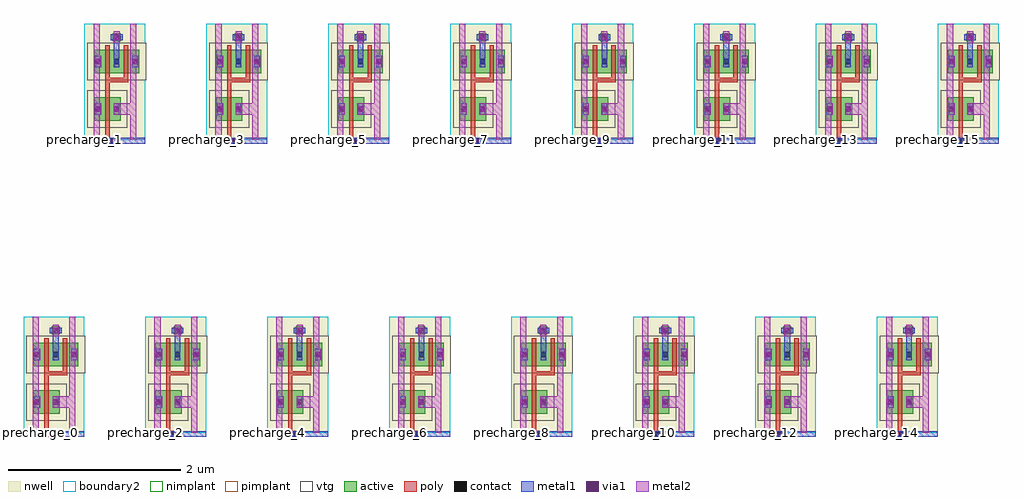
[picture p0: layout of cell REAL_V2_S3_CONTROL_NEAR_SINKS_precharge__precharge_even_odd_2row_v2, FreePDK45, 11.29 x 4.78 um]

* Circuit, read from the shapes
.subckt REAL_V2_S3_CONTROL_NEAR_SINKS_precharge__precharge_even_odd_2row_v2 precharge_0 precharge_1 precharge_10 precharge_11 precharge_12 precharge_13 precharge_14 precharge_15 precharge_2 precharge_3 precharge_4 precharge_5 precharge_6 precharge_7 precharge_8 precharge_9 vdd
M1 REAL_V2_S3_CONTROL_NEAR_SINKS_precharge__precharge_even_odd_2row_unit__0__gen_precharge_0/br precharge_0 REAL_V2_S3_CONTROL_NEAR_SINKS_precharge__precharge_even_odd_2row_unit__0__gen_precharge_0/bl vdd pfet w=0.27u l=0.05u
M2 vdd precharge_0 REAL_V2_S3_CONTROL_NEAR_SINKS_precharge__precharge_even_odd_2row_unit__0__gen_precharge_0/bl vdd pfet w=0.27u l=0.05u
M3 REAL_V2_S3_CONTROL_NEAR_SINKS_precharge__precharge_even_odd_2row_unit__0__gen_precharge_0/br precharge_0 vdd vdd pfet w=0.27u l=0.05u
M4 REAL_V2_S3_CONTROL_NEAR_SINKS_precharge__precharge_even_odd_2row_unit__0__gen_precharge_1/br precharge_1 REAL_V2_S3_CONTROL_NEAR_SINKS_precharge__precharge_even_odd_2row_unit__0__gen_precharge_1/bl vdd pfet w=0.27u l=0.05u
M5 vdd precharge_1 REAL_V2_S3_CONTROL_NEAR_SINKS_precharge__precharge_even_odd_2row_unit__0__gen_precharge_1/bl vdd pfet w=0.27u l=0.05u
M6 REAL_V2_S3_CONTROL_NEAR_SINKS_precharge__precharge_even_odd_2row_unit__0__gen_precharge_1/br precharge_1 vdd vdd pfet w=0.27u l=0.05u
M7 REAL_V2_S3_CONTROL_NEAR_SINKS_precharge__precharge_even_odd_2row_unit__0__gen_precharge_2/br precharge_2 REAL_V2_S3_CONTROL_NEAR_SINKS_precharge__precharge_even_odd_2row_unit__0__gen_precharge_2/bl vdd pfet w=0.27u l=0.05u
M8 vdd precharge_2 REAL_V2_S3_CONTROL_NEAR_SINKS_precharge__precharge_even_odd_2row_unit__0__gen_precharge_2/bl vdd pfet w=0.27u l=0.05u
M9 REAL_V2_S3_CONTROL_NEAR_SINKS_precharge__precharge_even_odd_2row_unit__0__gen_precharge_2/br precharge_2 vdd vdd pfet w=0.27u l=0.05u
M10 REAL_V2_S3_CONTROL_NEAR_SINKS_precharge__precharge_even_odd_2row_unit__0__gen_precharge_3/br precharge_3 REAL_V2_S3_CONTROL_NEAR_SINKS_precharge__precharge_even_odd_2row_unit__0__gen_precharge_3/bl vdd pfet w=0.27u l=0.05u
M11 vdd precharge_3 REAL_V2_S3_CONTROL_NEAR_SINKS_precharge__precharge_even_odd_2row_unit__0__gen_precharge_3/bl vdd pfet w=0.27u l=0.05u
M12 REAL_V2_S3_CONTROL_NEAR_SINKS_precharge__precharge_even_odd_2row_unit__0__gen_precharge_3/br precharge_3 vdd vdd pfet w=0.27u l=0.05u
M13 REAL_V2_S3_CONTROL_NEAR_SINKS_precharge__precharge_even_odd_2row_unit__0__gen_precharge_4/br precharge_4 REAL_V2_S3_CONTROL_NEAR_SINKS_precharge__precharge_even_odd_2row_unit__0__gen_precharge_4/bl vdd pfet w=0.27u l=0.05u
M14 vdd precharge_4 REAL_V2_S3_CONTROL_NEAR_SINKS_precharge__precharge_even_odd_2row_unit__0__gen_precharge_4/bl vdd pfet w=0.27u l=0.05u
M15 REAL_V2_S3_CONTROL_NEAR_SINKS_precharge__precharge_even_odd_2row_unit__0__gen_precharge_4/br precharge_4 vdd vdd pfet w=0.27u l=0.05u
M16 REAL_V2_S3_CONTROL_NEAR_SINKS_precharge__precharge_even_odd_2row_unit__0__gen_precharge_5/br precharge_5 REAL_V2_S3_CONTROL_NEAR_SINKS_precharge__precharge_even_odd_2row_unit__0__gen_precharge_5/bl vdd pfet w=0.27u l=0.05u
M17 vdd precharge_5 REAL_V2_S3_CONTROL_NEAR_SINKS_precharge__precharge_even_odd_2row_unit__0__gen_precharge_5/bl vdd pfet w=0.27u l=0.05u
M18 REAL_V2_S3_CONTROL_NEAR_SINKS_precharge__precharge_even_odd_2row_unit__0__gen_precharge_5/br precharge_5 vdd vdd pfet w=0.27u l=0.05u
M19 REAL_V2_S3_CONTROL_NEAR_SINKS_precharge__precharge_even_odd_2row_unit__0__gen_precharge_6/br precharge_6 REAL_V2_S3_CONTROL_NEAR_SINKS_precharge__precharge_even_odd_2row_unit__0__gen_precharge_6/bl vdd pfet w=0.27u l=0.05u
M20 vdd precharge_6 REAL_V2_S3_CONTROL_NEAR_SINKS_precharge__precharge_even_odd_2row_unit__0__gen_precharge_6/bl vdd pfet w=0.27u l=0.05u
M21 REAL_V2_S3_CONTROL_NEAR_SINKS_precharge__precharge_even_odd_2row_unit__0__gen_precharge_6/br precharge_6 vdd vdd pfet w=0.27u l=0.05u
M22 REAL_V2_S3_CONTROL_NEAR_SINKS_precharge__precharge_even_odd_2row_unit__0__gen_precharge_7/br precharge_7 REAL_V2_S3_CONTROL_NEAR_SINKS_precharge__precharge_even_odd_2row_unit__0__gen_precharge_7/bl vdd pfet w=0.27u l=0.05u
M23 vdd precharge_7 REAL_V2_S3_CONTROL_NEAR_SINKS_precharge__precharge_even_odd_2row_unit__0__gen_precharge_7/bl vdd pfet w=0.27u l=0.05u
M24 REAL_V2_S3_CONTROL_NEAR_SINKS_precharge__precharge_even_odd_2row_unit__0__gen_precharge_7/br precharge_7 vdd vdd pfet w=0.27u l=0.05u
M25 REAL_V2_S3_CONTROL_NEAR_SINKS_precharge__precharge_even_odd_2row_unit__0__gen_precharge_8/br precharge_8 REAL_V2_S3_CONTROL_NEAR_SINKS_precharge__precharge_even_odd_2row_unit__0__gen_precharge_8/bl vdd pfet w=0.27u l=0.05u
M26 vdd precharge_8 REAL_V2_S3_CONTROL_NEAR_SINKS_precharge__precharge_even_odd_2row_unit__0__gen_precharge_8/bl vdd pfet w=0.27u l=0.05u
M27 REAL_V2_S3_CONTROL_NEAR_SINKS_precharge__precharge_even_odd_2row_unit__0__gen_precharge_8/br precharge_8 vdd vdd pfet w=0.27u l=0.05u
M28 REAL_V2_S3_CONTROL_NEAR_SINKS_precharge__precharge_even_odd_2row_unit__0__gen_precharge_9/br precharge_9 REAL_V2_S3_CONTROL_NEAR_SINKS_precharge__precharge_even_odd_2row_unit__0__gen_precharge_9/bl vdd pfet w=0.27u l=0.05u
M29 vdd precharge_9 REAL_V2_S3_CONTROL_NEAR_SINKS_precharge__precharge_even_odd_2row_unit__0__gen_precharge_9/bl vdd pfet w=0.27u l=0.05u
M30 REAL_V2_S3_CONTROL_NEAR_SINKS_precharge__precharge_even_odd_2row_unit__0__gen_precharge_9/br precharge_9 vdd vdd pfet w=0.27u l=0.05u
M31 REAL_V2_S3_CONTROL_NEAR_SINKS_precharge__precharge_even_odd_2row_unit__0__gen_precharge_10/br precharge_10 REAL_V2_S3_CONTROL_NEAR_SINKS_precharge__precharge_even_odd_2row_unit__0__gen_precharge_10/bl vdd pfet w=0.27u l=0.05u
M32 vdd precharge_10 REAL_V2_S3_CONTROL_NEAR_SINKS_precharge__precharge_even_odd_2row_unit__0__gen_precharge_10/bl vdd pfet w=0.27u l=0.05u
M33 REAL_V2_S3_CONTROL_NEAR_SINKS_precharge__precharge_even_odd_2row_unit__0__gen_precharge_10/br precharge_10 vdd vdd pfet w=0.27u l=0.05u
M34 REAL_V2_S3_CONTROL_NEAR_SINKS_precharge__precharge_even_odd_2row_unit__0__gen_precharge_11/br precharge_11 REAL_V2_S3_CONTROL_NEAR_SINKS_precharge__precharge_even_odd_2row_unit__0__gen_precharge_11/bl vdd pfet w=0.27u l=0.05u
M35 vdd precharge_11 REAL_V2_S3_CONTROL_NEAR_SINKS_precharge__precharge_even_odd_2row_unit__0__gen_precharge_11/bl vdd pfet w=0.27u l=0.05u
M36 REAL_V2_S3_CONTROL_NEAR_SINKS_precharge__precharge_even_odd_2row_unit__0__gen_precharge_11/br precharge_11 vdd vdd pfet w=0.27u l=0.05u
M37 REAL_V2_S3_CONTROL_NEAR_SINKS_precharge__precharge_even_odd_2row_unit__0__gen_precharge_12/br precharge_12 REAL_V2_S3_CONTROL_NEAR_SINKS_precharge__precharge_even_odd_2row_unit__0__gen_precharge_12/bl vdd pfet w=0.27u l=0.05u
M38 vdd precharge_12 REAL_V2_S3_CONTROL_NEAR_SINKS_precharge__precharge_even_odd_2row_unit__0__gen_precharge_12/bl vdd pfet w=0.27u l=0.05u
M39 REAL_V2_S3_CONTROL_NEAR_SINKS_precharge__precharge_even_odd_2row_unit__0__gen_precharge_12/br precharge_12 vdd vdd pfet w=0.27u l=0.05u
M40 REAL_V2_S3_CONTROL_NEAR_SINKS_precharge__precharge_even_odd_2row_unit__0__gen_precharge_13/br precharge_13 REAL_V2_S3_CONTROL_NEAR_SINKS_precharge__precharge_even_odd_2row_unit__0__gen_precharge_13/bl vdd pfet w=0.27u l=0.05u
M41 vdd precharge_13 REAL_V2_S3_CONTROL_NEAR_SINKS_precharge__precharge_even_odd_2row_unit__0__gen_precharge_13/bl vdd pfet w=0.27u l=0.05u
M42 REAL_V2_S3_CONTROL_NEAR_SINKS_precharge__precharge_even_odd_2row_unit__0__gen_precharge_13/br precharge_13 vdd vdd pfet w=0.27u l=0.05u
M43 REAL_V2_S3_CONTROL_NEAR_SINKS_precharge__precharge_even_odd_2row_unit__0__gen_precharge_14/br precharge_14 REAL_V2_S3_CONTROL_NEAR_SINKS_precharge__precharge_even_odd_2row_unit__0__gen_precharge_14/bl vdd pfet w=0.27u l=0.05u
M44 vdd precharge_14 REAL_V2_S3_CONTROL_NEAR_SINKS_precharge__precharge_even_odd_2row_unit__0__gen_precharge_14/bl vdd pfet w=0.27u l=0.05u
M45 REAL_V2_S3_CONTROL_NEAR_SINKS_precharge__precharge_even_odd_2row_unit__0__gen_precharge_14/br precharge_14 vdd vdd pfet w=0.27u l=0.05u
M46 REAL_V2_S3_CONTROL_NEAR_SINKS_precharge__precharge_even_odd_2row_unit__0__gen_precharge_15/br precharge_15 REAL_V2_S3_CONTROL_NEAR_SINKS_precharge__precharge_even_odd_2row_unit__0__gen_precharge_15/bl vdd pfet w=0.27u l=0.05u
M47 vdd precharge_15 REAL_V2_S3_CONTROL_NEAR_SINKS_precharge__precharge_even_odd_2row_unit__0__gen_precharge_15/bl vdd pfet w=0.27u l=0.05u
M48 REAL_V2_S3_CONTROL_NEAR_SINKS_precharge__precharge_even_odd_2row_unit__0__gen_precharge_15/br precharge_15 vdd vdd pfet w=0.27u l=0.05u
.ends

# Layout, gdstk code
import gdstk
lib = gdstk.Library(unit=1e-6, precision=5e-10)
def R(c, l, rs):  # rectangles x0, y0, x1, y1
    for r in rs: c.add(gdstk.rectangle(r[:2], r[2:], *l))
active = (1, 0)
nwell = (3, 0)
nimplant = (4, 0)
pimplant = (5, 0)
vtg = (6, 0)
poly = (9, 0)
contact = (10, 0)
metal1 = (11, 0)
via1 = (12, 0)
metal2 = (13, 0)
boundary2 = (239, 0)

real_v2_s3_control_near_ = lib.new_cell('REAL_V2_S3_CONTROL_NEAR_SINKS_precharge__precharge_even_odd_2row_unit__1__sram_1rw_32x16_freepdk45_contact_11')
R(real_v2_s3_control_near_, active, [(0,0.0225,0.09,0.1125)])
R(real_v2_s3_control_near_, nwell, [(-0.055,-0.0325,0.145,0.1675)])
R(real_v2_s3_control_near_, pimplant, [(0,0.0225,0.09,0.1125)])
R(real_v2_s3_control_near_, contact, [(0.0125,0.035,0.0775,0.1)])
R(real_v2_s3_control_near_, metal1, [(0.0125,0,0.0775,0.135)])
R(real_v2_s3_control_near_, boundary2, [(-0.055,-0.0325,0.145,0.1675)])

c_real_v2_s3_control_near_ = lib.new_cell('REAL_V2_S3_CONTROL_NEAR_SINKS_precharge__precharge_even_odd_2row_unit__6__sram_1rw_32x16_freepdk45_pmos_m1_w0_270_sm1_dm1')
R(c_real_v2_s3_control_near_, active, [(0,0,0.305,0.27)])
R(c_real_v2_s3_control_near_, nwell, [(-0.08,-0.08,0.385,0.35)])
R(c_real_v2_s3_control_near_, pimplant, [(0,0,0.305,0.27)])
R(c_real_v2_s3_control_near_, vtg, [(-0.08,-0.08,0.385,0.35)])
R(c_real_v2_s3_control_near_, poly, [(0.1275,-0.055,0.1775,0.325), (0.1275,-0.055,0.1775,0.325)])
R(c_real_v2_s3_control_near_, metal1, [(0.0125,0.0675,0.0775,0.2025), (0.2275,0.0675,0.2925,0.2025)])
R(c_real_v2_s3_control_near_, boundary2, [(-0.08,-0.08,0.385,0.35)])
c_real_v2_s3_control_near_.add(gdstk.Reference(real_v2_s3_control_near_, (0,0.0675)))
c_real_v2_s3_control_near_.add(gdstk.Reference(real_v2_s3_control_near_, (0.215,0.0675)))
c_real_v2_s3_control_near_.add(gdstk.Label('G', (0.1525,0.135), layer=9, texttype=0))
c_real_v2_s3_control_near_.add(gdstk.Label('S', (0.045,0.135), layer=11, texttype=0))
c_real_v2_s3_control_near_.add(gdstk.Label('D', (0.26,0.135), layer=11, texttype=0))

c_real_v2_s3_control_near__ = lib.new_cell('REAL_V2_S3_CONTROL_NEAR_SINKS_precharge__precharge_even_odd_2row_unit__2__sram_1rw_32x16_freepdk45_contact_14')
R(c_real_v2_s3_control_near__, poly, [(0.03,0,0.105,0.075)])
R(c_real_v2_s3_control_near__, contact, [(0.035,0.005,0.1,0.07)])
R(c_real_v2_s3_control_near__, metal1, [(0,0.005,0.135,0.07)])
R(c_real_v2_s3_control_near__, boundary2, [(0,0,0.135,0.075)])

c_real_v2_s3_control_near___ = lib.new_cell('REAL_V2_S3_CONTROL_NEAR_SINKS_precharge__precharge_even_odd_2row_unit__4__sram_1rw_32x16_freepdk45_contact_22')
R(c_real_v2_s3_control_near___, active, [(0.0225,0,0.1125,0.09)])
R(c_real_v2_s3_control_near___, nwell, [(-0.0325,-0.055,0.1675,0.145)])
R(c_real_v2_s3_control_near___, nimplant, [(0.0225,0,0.1125,0.09)])
R(c_real_v2_s3_control_near___, contact, [(0.035,0.0125,0.1,0.0775)])
R(c_real_v2_s3_control_near___, metal1, [(0,0.0125,0.135,0.0775)])
R(c_real_v2_s3_control_near___, boundary2, [(-0.0325,-0.055,0.1675,0.145)])

c_real_v2_s3_control_near____ = lib.new_cell('REAL_V2_S3_CONTROL_NEAR_SINKS_precharge__precharge_even_odd_2row_unit__3__sram_1rw_32x16_freepdk45_contact_17')
R(c_real_v2_s3_control_near____, metal1, [(0,0.035,0.135,0.1)])
R(c_real_v2_s3_control_near____, via1, [(0.035,0.035,0.1,0.1)])
R(c_real_v2_s3_control_near____, metal2, [(0.0325,0,0.1025,0.135)])
R(c_real_v2_s3_control_near____, boundary2, [(0,0,0.135,0.135)])

c_real_v2_s3_control_near_____ = lib.new_cell('REAL_V2_S3_CONTROL_NEAR_SINKS_precharge__precharge_even_odd_2row_unit__5__sram_1rw_32x16_freepdk45_contact_23')
R(c_real_v2_s3_control_near_____, metal1, [(0.0025,0,0.0675,0.135)])
R(c_real_v2_s3_control_near_____, via1, [(0.0025,0.035,0.0675,0.1)])
R(c_real_v2_s3_control_near_____, metal2, [(0,0,0.07,0.135)])
R(c_real_v2_s3_control_near_____, boundary2, [(0,0,0.07,0.135)])

c_real_v2_s3_control_near______ = lib.new_cell('REAL_V2_S3_CONTROL_NEAR_SINKS_precharge__precharge_even_odd_2row_unit__0__gen_precharge')
R(c_real_v2_s3_control_near______, nwell, [(0,0,0.705,1.34)])
R(c_real_v2_s3_control_near______, poly, [(0.24,-0.0375,0.29,0.0125), (0.265,-0.0375,0.29,0.0125), (0.24,-0.0125,0.29,0.165), (0.24,0.545,0.29,0.715), (0.24,0.665,0.505,0.715)])
R(c_real_v2_s3_control_near______, metal1, [(0,-0.045,0.705,0.02), (0.34,0.905,0.405,1.185), (0.34,1.1525,0.405,1.2175)])
R(c_real_v2_s3_control_near______, metal2, [(0.105,0,0.175,1.34), (0.105,0,0.175,1.34), (0.53,0,0.6,1.34), (0.53,0,0.6,1.34), (0.14,0.2875,0.1575,0.4225), (0.3725,0.2875,0.565,0.4225), (0.14,0.8375,0.1575,0.9725), (0.565,0.8375,0.5875,0.9725)])
R(c_real_v2_s3_control_near______, boundary2, [(0,0,0.705,1.34)])
c_real_v2_s3_control_near______.add(gdstk.Reference(c_real_v2_s3_control_near_, (0.1125,0.22)))
c_real_v2_s3_control_near______.add(gdstk.Reference(c_real_v2_s3_control_near_, (0.1125,0.77)))
c_real_v2_s3_control_near______.add(gdstk.Reference(c_real_v2_s3_control_near_, (0.3275,0.77)))
c_real_v2_s3_control_near______.add(gdstk.Reference(c_real_v2_s3_control_near__, (0.2225,-0.05)))
c_real_v2_s3_control_near______.add(gdstk.Reference(c_real_v2_s3_control_near___, (0.305,1.14)))
c_real_v2_s3_control_near______.add(gdstk.Reference(c_real_v2_s3_control_near____, (0.305,1.1175)))
c_real_v2_s3_control_near______.add(gdstk.Reference(c_real_v2_s3_control_near_____, (0.1225,0.2875)))
c_real_v2_s3_control_near______.add(gdstk.Reference(c_real_v2_s3_control_near_____, (0.3375,0.2875)))
c_real_v2_s3_control_near______.add(gdstk.Reference(c_real_v2_s3_control_near_____, (0.1225,0.8375)))
c_real_v2_s3_control_near______.add(gdstk.Reference(c_real_v2_s3_control_near_____, (0.5525,0.8375)))
c_real_v2_s3_control_near______.add(gdstk.Label('en_bar', (0.3525,-0.0125), layer=11, texttype=0))
c_real_v2_s3_control_near______.add(gdstk.Label('vdd', (0.3725,1.185), layer=11, texttype=0))
c_real_v2_s3_control_near______.add(gdstk.Label('bl', (0.14,0.67), layer=13, texttype=0))
c_real_v2_s3_control_near______.add(gdstk.Label('br', (0.565,0.67), layer=13, texttype=0))

c_real_v2_s3_control_near_______ = lib.new_cell('REAL_V2_S3_CONTROL_NEAR_SINKS_precharge__precharge_even_odd_2row_v2')
c_real_v2_s3_control_near_______.add(gdstk.Reference(c_real_v2_s3_control_near______, (0,0.05)))
c_real_v2_s3_control_near_______.add(gdstk.Reference(c_real_v2_s3_control_near______, (0.705,3.44)))
c_real_v2_s3_control_near_______.add(gdstk.Reference(c_real_v2_s3_control_near______, (1.41,0.05)))
c_real_v2_s3_control_near_______.add(gdstk.Reference(c_real_v2_s3_control_near______, (2.115,3.44)))
c_real_v2_s3_control_near_______.add(gdstk.Reference(c_real_v2_s3_control_near______, (2.82,0.05)))
c_real_v2_s3_control_near_______.add(gdstk.Reference(c_real_v2_s3_control_near______, (3.525,3.44)))
c_real_v2_s3_control_near_______.add(gdstk.Reference(c_real_v2_s3_control_near______, (4.23,0.05)))
c_real_v2_s3_control_near_______.add(gdstk.Reference(c_real_v2_s3_control_near______, (4.935,3.44)))
c_real_v2_s3_control_near_______.add(gdstk.Reference(c_real_v2_s3_control_near______, (5.64,0.05)))
c_real_v2_s3_control_near_______.add(gdstk.Reference(c_real_v2_s3_control_near______, (6.345,3.44)))
c_real_v2_s3_control_near_______.add(gdstk.Reference(c_real_v2_s3_control_near______, (7.05,0.05)))
c_real_v2_s3_control_near_______.add(gdstk.Reference(c_real_v2_s3_control_near______, (7.755,3.44)))
c_real_v2_s3_control_near_______.add(gdstk.Reference(c_real_v2_s3_control_near______, (8.46,0.05)))
c_real_v2_s3_control_near_______.add(gdstk.Reference(c_real_v2_s3_control_near______, (9.165,3.44)))
c_real_v2_s3_control_near_______.add(gdstk.Reference(c_real_v2_s3_control_near______, (9.87,0.05)))
c_real_v2_s3_control_near_______.add(gdstk.Reference(c_real_v2_s3_control_near______, (10.575,3.44)))
c_real_v2_s3_control_near_______.add(gdstk.Label('precharge_0', (0,0.05), layer=11, texttype=2))
c_real_v2_s3_control_near_______.add(gdstk.Label('precharge_1', (0.705,3.44), layer=11, texttype=2))
c_real_v2_s3_control_near_______.add(gdstk.Label('precharge_2', (1.41,0.05), layer=11, texttype=2))
c_real_v2_s3_control_near_______.add(gdstk.Label('precharge_3', (2.115,3.44), layer=11, texttype=2))
c_real_v2_s3_control_near_______.add(gdstk.Label('precharge_4', (2.82,0.05), layer=11, texttype=2))
c_real_v2_s3_control_near_______.add(gdstk.Label('precharge_5', (3.525,3.44), layer=11, texttype=2))
c_real_v2_s3_control_near_______.add(gdstk.Label('precharge_6', (4.23,0.05), layer=11, texttype=2))
c_real_v2_s3_control_near_______.add(gdstk.Label('precharge_7', (4.935,3.44), layer=11, texttype=2))
c_real_v2_s3_control_near_______.add(gdstk.Label('precharge_8', (5.64,0.05), layer=11, texttype=2))
c_real_v2_s3_control_near_______.add(gdstk.Label('precharge_9', (6.345,3.44), layer=11, texttype=2))
c_real_v2_s3_control_near_______.add(gdstk.Label('precharge_10', (7.05,0.05), layer=11, texttype=2))
c_real_v2_s3_control_near_______.add(gdstk.Label('precharge_11', (7.755,3.44), layer=11, texttype=2))
c_real_v2_s3_control_near_______.add(gdstk.Label('precharge_12', (8.46,0.05), layer=11, texttype=2))
c_real_v2_s3_control_near_______.add(gdstk.Label('precharge_13', (9.165,3.44), layer=11, texttype=2))
c_real_v2_s3_control_near_______.add(gdstk.Label('precharge_14', (9.87,0.05), layer=11, texttype=2))
c_real_v2_s3_control_near_______.add(gdstk.Label('precharge_15', (10.575,3.44), layer=11, texttype=2))

lib.write_gds('REAL_V2_S3_CONTROL_NEAR_SINKS_precharge__precharge_even_odd_2row_v2.gds')
